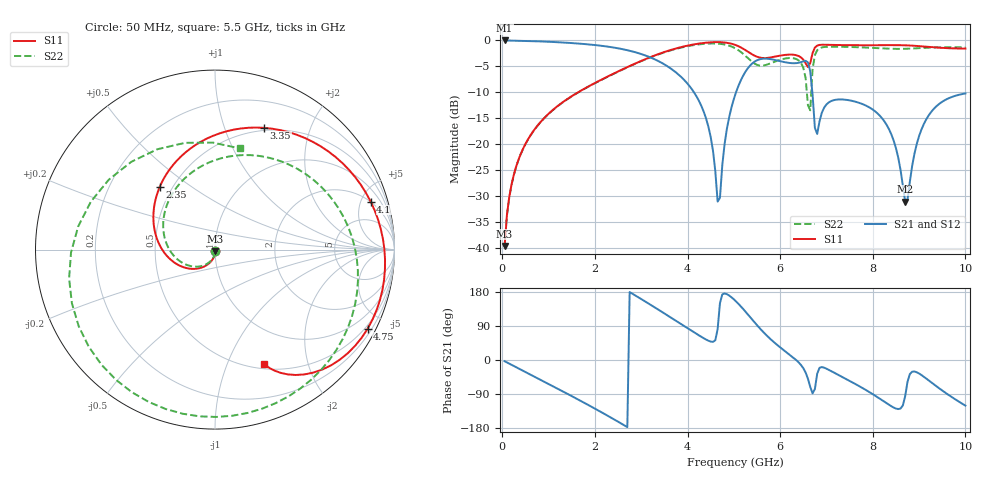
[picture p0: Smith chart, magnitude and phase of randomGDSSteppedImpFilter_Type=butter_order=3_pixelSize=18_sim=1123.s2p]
! freq	dB(S11)	phase(S11)	dB(S12)	phase(S12)
!  dB(S21)	phase(S21)	dB(S22)	phase(S22)
!S-par simulation data
#  GHz  S  DB  R 50
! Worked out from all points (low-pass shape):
!   200 points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, 50 MHz to 10 GHz, reference 50 ohm
!   highest |S21| = -0.02 dB at 50 MHz (marker M1); lowest = -31.1 dB at 8.7 GHz (marker M2)
!   |S21| within 3 dB of the highest: start of sweep to 3.121 GHz
!   lowest |S11| = -39.7 dB at 50 MHz (marker M3), VSWR 1.02, Z = 50.1 - j1.03 ohm
!   |S11| at or under -10 dB: start of sweep to 1.64 GHz
!   |S22| runs from -39.7 to -0.6 dB; largest |S21 - S12| = 0
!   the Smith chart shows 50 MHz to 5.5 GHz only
!   S11 on the Smith chart (normalised r, x): 50 MHz: 1.00, -0.02; 2.35 GHz: 0.43, +0.38; 3.35 GHz: 0.47, +1.37; 4.1 GHz: 1.98, +6.00; 4.75 GHz: 0.38, -4.06; 5.5 GHz: 0.55, -1.36
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0.05  -39.67 -81.7  -0.02 -3.2  -0.02 -3.2  -39.69 -82.0
0.5  -19.98 -118.8  -0.11 -31.6  -0.11 -31.6  -20.01 -122.6
1.75  -9.44 166.9  -0.69 -111.6  -0.69 -111.6  -9.47 148.3
2.35  -6.65 131.6  -1.31 -152.2  -1.31 -152.2  -6.69 102.0
3.35  -2.72 68.0  -3.91 134.4  -3.91 134.4  -2.78 18.4
3.4  -2.55 64.7  -4.14 130.6  -4.14 130.6  -2.62 14.1
4.1  -0.84 17.1  -9.51 76.3  -9.51 76.3  -0.97 -48.9
4.65  -0.34 -20.5  -31.10 81.6  -31.10 81.6  -0.63 -107.2
4.75  -0.38 -27.4  -24.14 172.9  -24.14 172.9  -0.73 -120.2
5.05  -0.95 -48.2  -9.95 154.3  -9.95 154.3  -1.63 -168.8
5.5  -3.16 -66.8  -3.85 92.0  -3.85 92.0  -4.72 76.3
5.8  -3.29 -70.9  -3.63 54.2  -3.63 54.2  -4.41 -0.5
6.2  -2.75 -85.1  -4.36 14.5  -4.36 14.5  -3.41 -64.3
6.55  -4.42 -98.5  -3.95 -33.0  -3.95 -33.0  -7.27 -117.5
6.65  -4.40 -81.8  -5.97 -71.1  -5.97 -71.1  -13.49 -43.1
6.7  -2.46 -81.4  -10.46 -88.1  -10.46 -88.1  -5.55 -45.3
6.9  -0.85 -104.2  -13.96 -18.7  -13.96 -18.7  -1.36 -94.7
7.6  -0.94 -143.8  -11.77 -61.7  -11.77 -61.7  -1.30 -161.4
8.35  -0.93 172.8  -17.13 -118.2  -17.13 -118.2  -1.61 114.1
8.7  -0.96 148.2  -31.12 -95.4  -31.12 -95.4  -1.63 56.2
9.1  -1.19 116.5  -16.18 -44.0  -16.18 -44.0  -1.46 -11.1
10  -1.59 41.2  -10.24 -120.3  -10.24 -120.3  -1.35 -103.5
